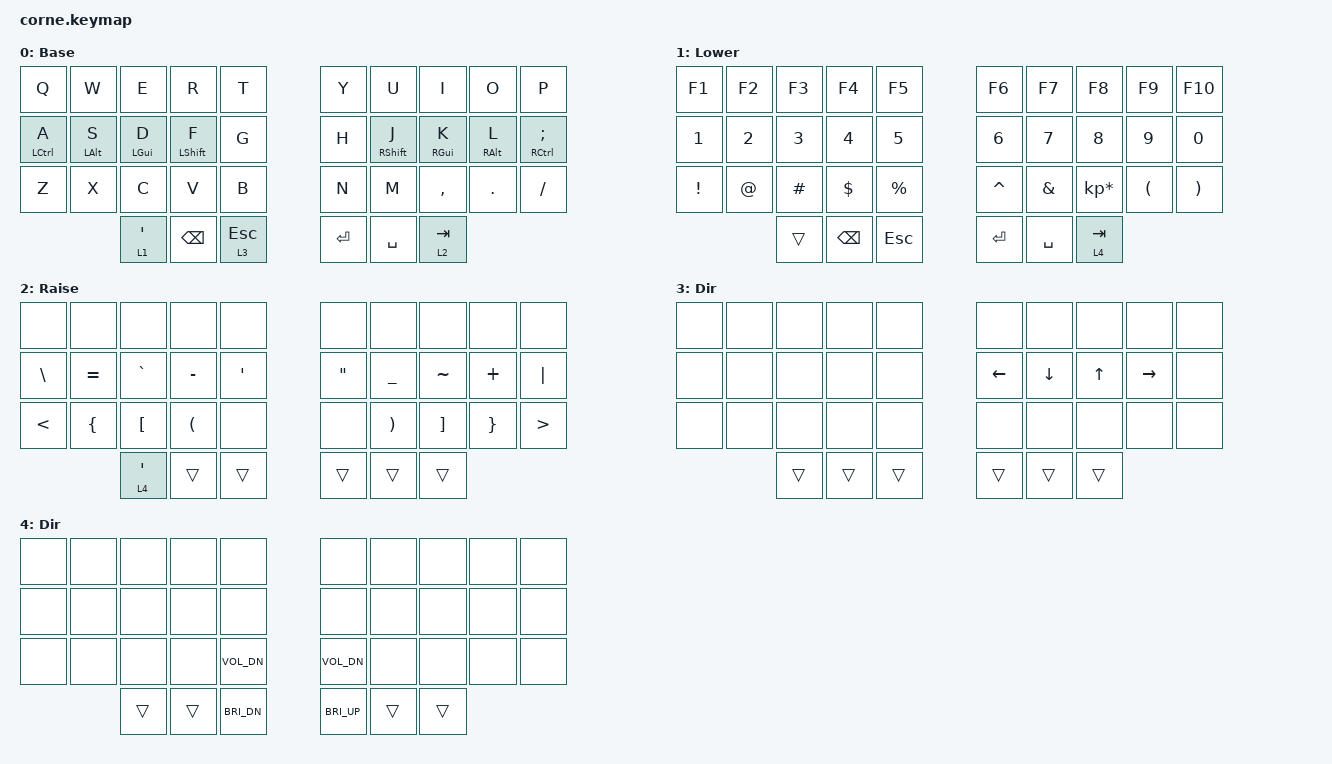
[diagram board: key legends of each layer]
/*
 * Copyright (c) 2020 The ZMK Contributors
 *
 * SPDX-License-Identifier: MIT
 */

#include <behaviors.dtsi>
#include <dt-bindings/zmk/keys.h>
#include <dt-bindings/zmk/bt.h>


    &mt {
    flavor = "tap-preferred";
};

/ {
    chosen {
      zmk,matrix_transform = &five_column_transform;
    };

        keymap {
                compatible = "zmk,keymap";

                default_layer {
// -----------------------------------------------------------------------------------------
                        display-name = "Base";
                        bindings = <
   &kp Q &kp W &kp E &kp R &kp T     &kp Y   &kp U  &kp I     &kp O     &kp P
   &mt LCTRL A &mt LALT S &mt LGUI D &mt LSHIFT F &kp G     &kp H   &mt RSHIFT J  &mt RGUI K     &mt RALT L     &mt RCTRL SEMI
   &kp Z &kp X &kp C &kp V &kp B     &kp N   &kp M  &kp COMMA  &kp DOT  &kp SLASH
        &lt 1 SQT &kp BSPC &lt 3 ESC     &kp RET &kp SPACE  &lt 2 TAB
                        >;
                };

                lower_layer {
// -----------------------------------------------------------------------------------------
                        display-name = "Lower";
                        bindings = <
   &kp F1    &kp F2    &kp F3    &kp F4    &kp F5        &kp F6    &kp F7    &kp F8    &kp F9   &kp F10
   &kp N1    &kp N2    &kp N3    &kp N4    &kp N5        &kp N6    &kp N7    &kp N8    &kp N9   &kp N0
   &kp EXCL     &kp AT       &kp HASH     &kp DLLR     &kp PRCNT        &kp CARET &kp AMPS  &kp KP_MULTIPLY &kp LPAR  &kp RPAR
                             &trans     &kp BSPC       &kp ESC        &kp RET   &kp SPACE   &lt 4 TAB
                        >;
                };

                raise_layer {
// -----------------------------------------------------------------------------------------
                        display-name = "Raise";
                        bindings = <

   &none &none &none &none &none &none &none &none &none &none
   &kp BSLH &kp EQUAL &kp GRAVE &kp MINUS &kp SQT &kp DQT &kp UNDER &kp TILDE &kp PLUS &kp PIPE
   &kp LT &kp LBRC &kp LBKT &kp LPAR &none &none &kp RPAR &kp RBKT &kp RBRC &kp GT
                &lt 4 SQT &trans &trans &trans &trans &trans
                        >;
                };

                dir_layer {
// -----------------------------------------------------------------------------------------
                        display-name = "Dir";
                        bindings = <

   &none &none &none &none &none &none &none &none &none &none
   &none &none &none &none &none &kp LEFT &kp DOWN &kp UP &kp RIGHT &none 
   &none &none &none &none &none &none &none &none &none &none
                &trans &trans &trans &trans &trans &trans
                        >;
                };

                fun_layer {
// -----------------------------------------------------------------------------------------
                        display-name = "Dir";
                        bindings = <

   &none &none &none &none &none &none &none &none &none &none
   &none &none &none &none &none &none &none &none &none &none
   &none &none &none &none &kp C_VOL_DN &kp C_VOL_DN &none &none &none &none
                &trans &trans &kp C_BRI_DN &kp C_BRI_UP &trans &trans
                        >;
                };
        };
};
